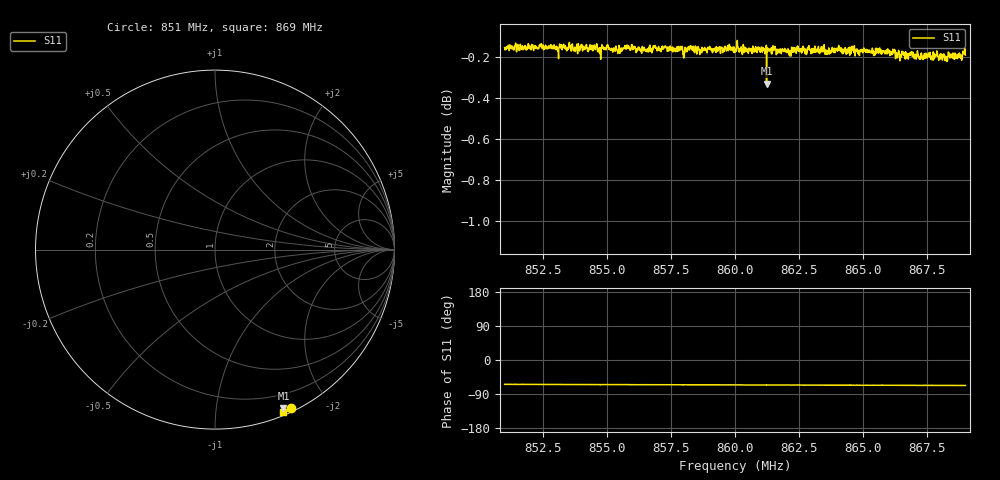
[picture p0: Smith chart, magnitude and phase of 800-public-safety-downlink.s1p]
! Calibrated averaged scanner-service zoom
# Hz S RI R 50
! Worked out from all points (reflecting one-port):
!   2001 points, 851 MHz to 869 MHz, reference 50 ohm
!   lowest |S11| = -0.3 dB at 861.23 MHz (marker M1), VSWR 52.51, Z = 3.15 - j75.9 ohm
!   phase of S11 starts at -64 deg and turns -3 deg over the sweep
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8.51e8  0.426 -0.8852
8.51153e8  0.4291 -0.8848
8.51558e8  0.425 -0.8848
8.51981e8  0.4259 -0.8847
8.5325e8  0.4215 -0.8861
8.54978e8  0.4157 -0.89
8.555e8  0.4133 -0.8877
8.56022e8  0.4147 -0.8912
8.56193e8  0.4116 -0.8904
8.57228e8  0.4099 -0.8925
8.5775e8  0.4084 -0.8911
8.58047e8  0.4095 -0.8931
8.58317e8  0.4062 -0.8942
8.58686e8  0.4061 -0.893
8.6e8  0.4027 -0.8952
8.6081e8  0.3996 -0.8972
8.61233e8  0.3812 -0.8839
8.61539e8  0.3995 -0.8966
8.6225e8  0.3967 -0.8963
8.63411e8  0.3929 -0.9005
8.63645e8  0.3918 -0.8987
8.64014e8  0.3927 -0.8998
8.645e8  0.3925 -0.8996
8.65004e8  0.3893 -0.9002
8.65769e8  0.3889 -0.8999
8.6675e8  0.3844 -0.8988
8.68289e8  0.38 -0.8995
8.69e8  0.3781 -0.9022
